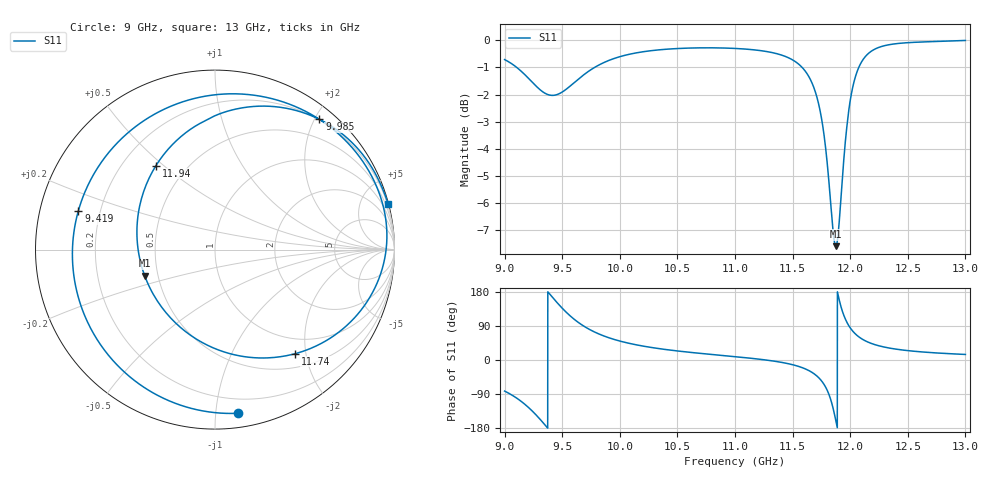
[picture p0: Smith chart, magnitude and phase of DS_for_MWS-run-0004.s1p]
! TOUCHSTONE file generated by CST DESIGN STUDIO
! Date and time: Tue Feb  4 16:15:21 2025
! Project name: C:\Work\MatlabApps\UnitCellOptimizationMatlab\CST\unitcell.cst
! Tree item: Tasks\Sweep1\SPara1\S-Parameters
! Header version: 2024
! Port assignment regex: !\s*Touchstone port\s*([0-9]+)\s*=\s*(CST MWS port|CST DES external port|CST DES block port)\s*(.+)\s* \(\"(.*)\"\)(\s*mode\s*([0-9]+))?.*
! Touchstone port assignment:
! Touchstone port 1 = CST DES external port 1 ("")
# GHz S MA R 50
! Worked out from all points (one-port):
!   4001 points, 9 GHz to 13 GHz, reference 50 ohm
!   lowest |S11| = -7.6 dB at 11.88 GHz (marker M1), VSWR 2.44, Z = 21.1 - j7.41 ohm
!   |S11| at or under -10 dB: nowhere
!   S11 on the Smith chart (normalised r, x): 9 GHz: 0.10, -1.15; 9.419 GHz: 0.12, +0.14; 9.985 GHz: 0.19, +2.07; 11.74 GHz: 0.72, -1.80; 11.94 GHz: 0.34, +0.47; 13 GHz: 0.04, +7.77
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9  0.9208 -82.0
9.113  0.8881 -102.3
9.206  0.8512 -124.9
9.322  0.806 -161.3
9.419  0.7914 164.2
9.5  0.8026 136.7
9.586  0.829 112.0
9.681  0.8615 90.6
9.824  0.9012 68.0
9.985  0.9302 51.3
10  0.9322 50.0
10.215  0.9528 36.0
10.5  0.965 23.9
11  0.9654 8.8
11.5  0.9196 -12.4
11.646  0.8531 -28.7
11.744  0.7318 -52.4
11.816  0.5468 -91.2
11.875  0.418 -159.7
11.904  0.4612 159.6
11.936  0.5717 125.2
11.967  0.6808 102.2
12  0.7739 84.9
12.078  0.8943 60.4
12.172  0.9503 45.0
12.303  0.9773 33.7
12.5  0.9892 24.7
13  0.9985 14.7
